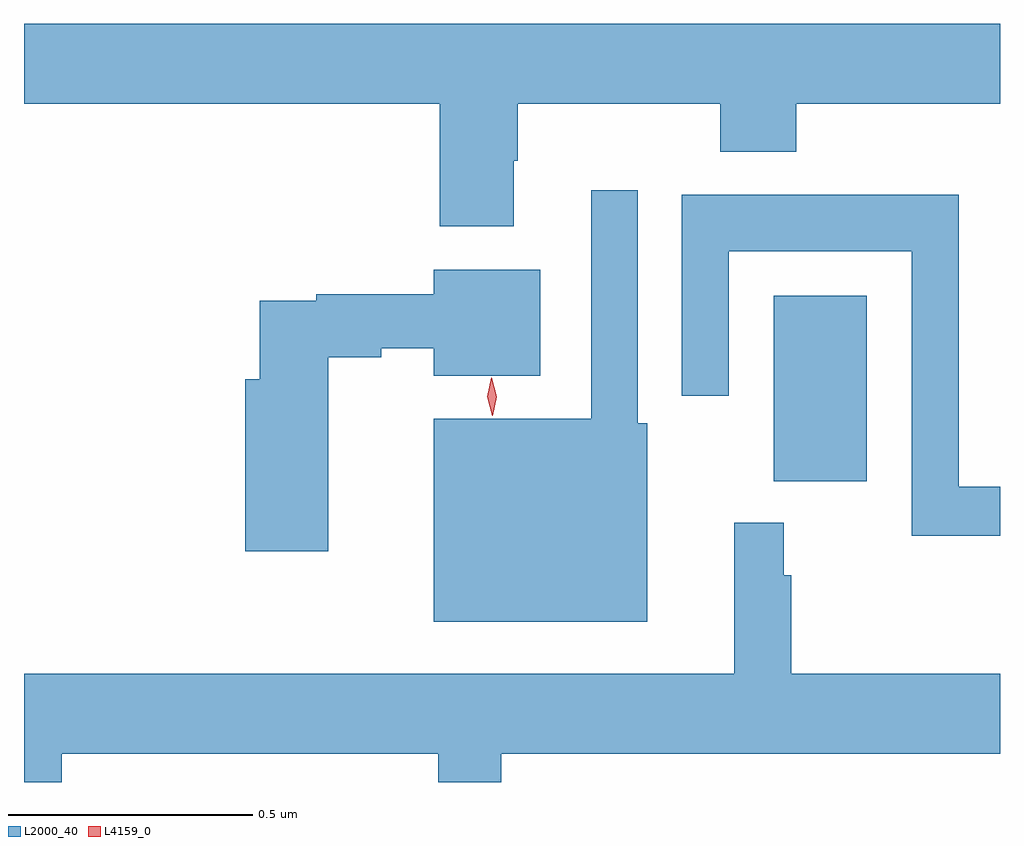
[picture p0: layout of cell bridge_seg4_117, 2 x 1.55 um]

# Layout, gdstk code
import gdstk
lib = gdstk.Library(unit=1e-6, precision=1e-09)
def R(c, l, rs):  # rectangles x0, y0, x1, y1
    for r in rs: c.add(gdstk.rectangle(r[:2], r[2:], *l))
def P(c, l, *ps):  # polygons
    for p in ps: c.add(gdstk.Polygon(p, *l))
L2000_40 = (2000, 40)
L4159_0 = (4159, 0)

bridge_seg4_117 = lib.new_cell('bridge_seg4_117')
R(bridge_seg4_117, L2000_40, [(358.667,776.066,358.858,776.446)])
P(bridge_seg4_117, L2000_40, [(358.135,776.723),(358.143,776.723),(358.143,776.84),(358.558,776.84),(358.558,776.741),(358.713,776.741),(358.713,776.84),(359.131,776.84),(359.131,777.004),(357.131,777.004),(357.131,776.84),(357.983,776.84),(357.983,776.589),(358.135,776.589)],
  [(358.408,776.185),(358.389,776.185),(358.389,776.662),(358.293,776.662),(358.293,776.194),(357.971,776.194),(357.971,775.778),(358.408,775.778)],
  [(359.131,776.055),(359.046,776.055),(359.046,776.653),(358.479,776.653),(358.479,776.241),(358.575,776.241),(358.575,776.537),(358.95,776.537),(358.95,775.954),(359.131,775.954)],
  [(357.754,776.32),(357.863,776.32),(357.863,776.339),(357.971,776.339),(357.971,776.282),(358.189,776.282),(358.189,776.5),(357.971,776.5),(357.971,776.449),(357.73,776.449),(357.73,776.436),(357.614,776.436),(357.614,776.275),(357.584,776.275),(357.584,775.923),(357.754,775.923)],
  [(357.208,775.508),(357.98,775.508),(357.98,775.449),(358.109,775.449),(358.109,775.508),(359.131,775.508),(359.131,775.672),(358.703,775.672),(358.703,775.874),(358.688,775.874),(358.688,775.981),(358.586,775.981),(358.586,775.672),(357.131,775.672),(357.131,775.449),(357.208,775.449)])
P(bridge_seg4_117, L4159_0, [(358.091,776.2),(358.08,776.239),(358.088,776.278),(358.089,776.278),(358.089,776.278),(358.1,776.239),(358.092,776.2),(358.092,776.2)])

lib.write_gds('bridge_seg4_117.gds')
